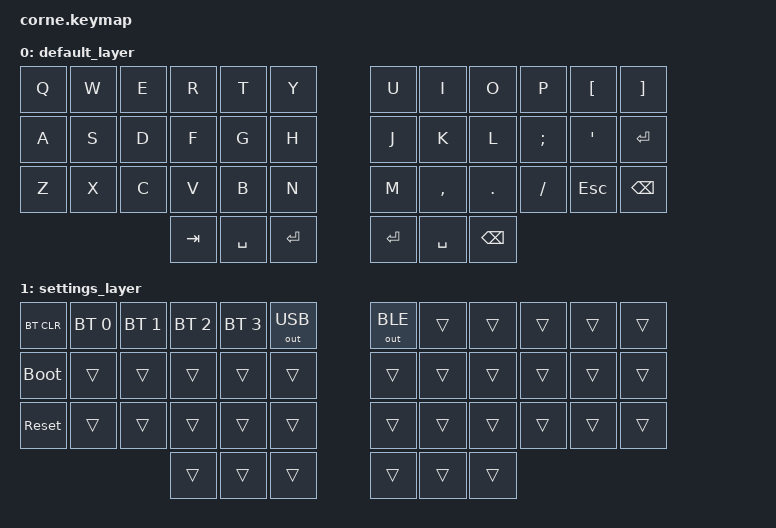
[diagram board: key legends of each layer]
#include <behaviors.dtsi>
#include <dt-bindings/zmk/keys.h>
#include <dt-bindings/zmk/bt.h>
#include <dt-bindings/zmk/outputs.h>

/ {
  keymap {
    compatible = "zmk,keymap";

    default_layer {
      bindings = <
        &kp Q &kp W &kp E &kp R &kp T &kp Y    &kp U &kp I     &kp O   &kp P    &kp LBKT &kp RBKT
        &kp A &kp S &kp D &kp F &kp G &kp H    &kp J &kp K     &kp L   &kp SEMI &kp SQT  &kp RET
        &kp Z &kp X &kp C &kp V &kp B &kp N    &kp M &kp COMMA &kp DOT &kp FSLH &kp ESC  &kp BSPC
                          &kp TAB &kp SPACE &kp RET    &kp RET &kp SPACE &kp BSPC
      >;
    };

    settings_layer {
      bindings = <
        &bt BT_CLR    &bt BT_SEL 0 &bt BT_SEL 1 &bt BT_SEL 2 &bt BT_SEL 3 &out OUT_USB    &out OUT_BLE &trans &trans &trans &trans &trans
        &bootloader   &trans       &trans       &trans       &trans       &trans    &trans &trans &trans &trans &trans &trans
        &sys_reset    &trans       &trans       &trans       &trans       &trans    &trans &trans &trans &trans &trans &trans
                                          &trans &trans &trans    &trans &trans &trans
      >;
    };
  };
};
